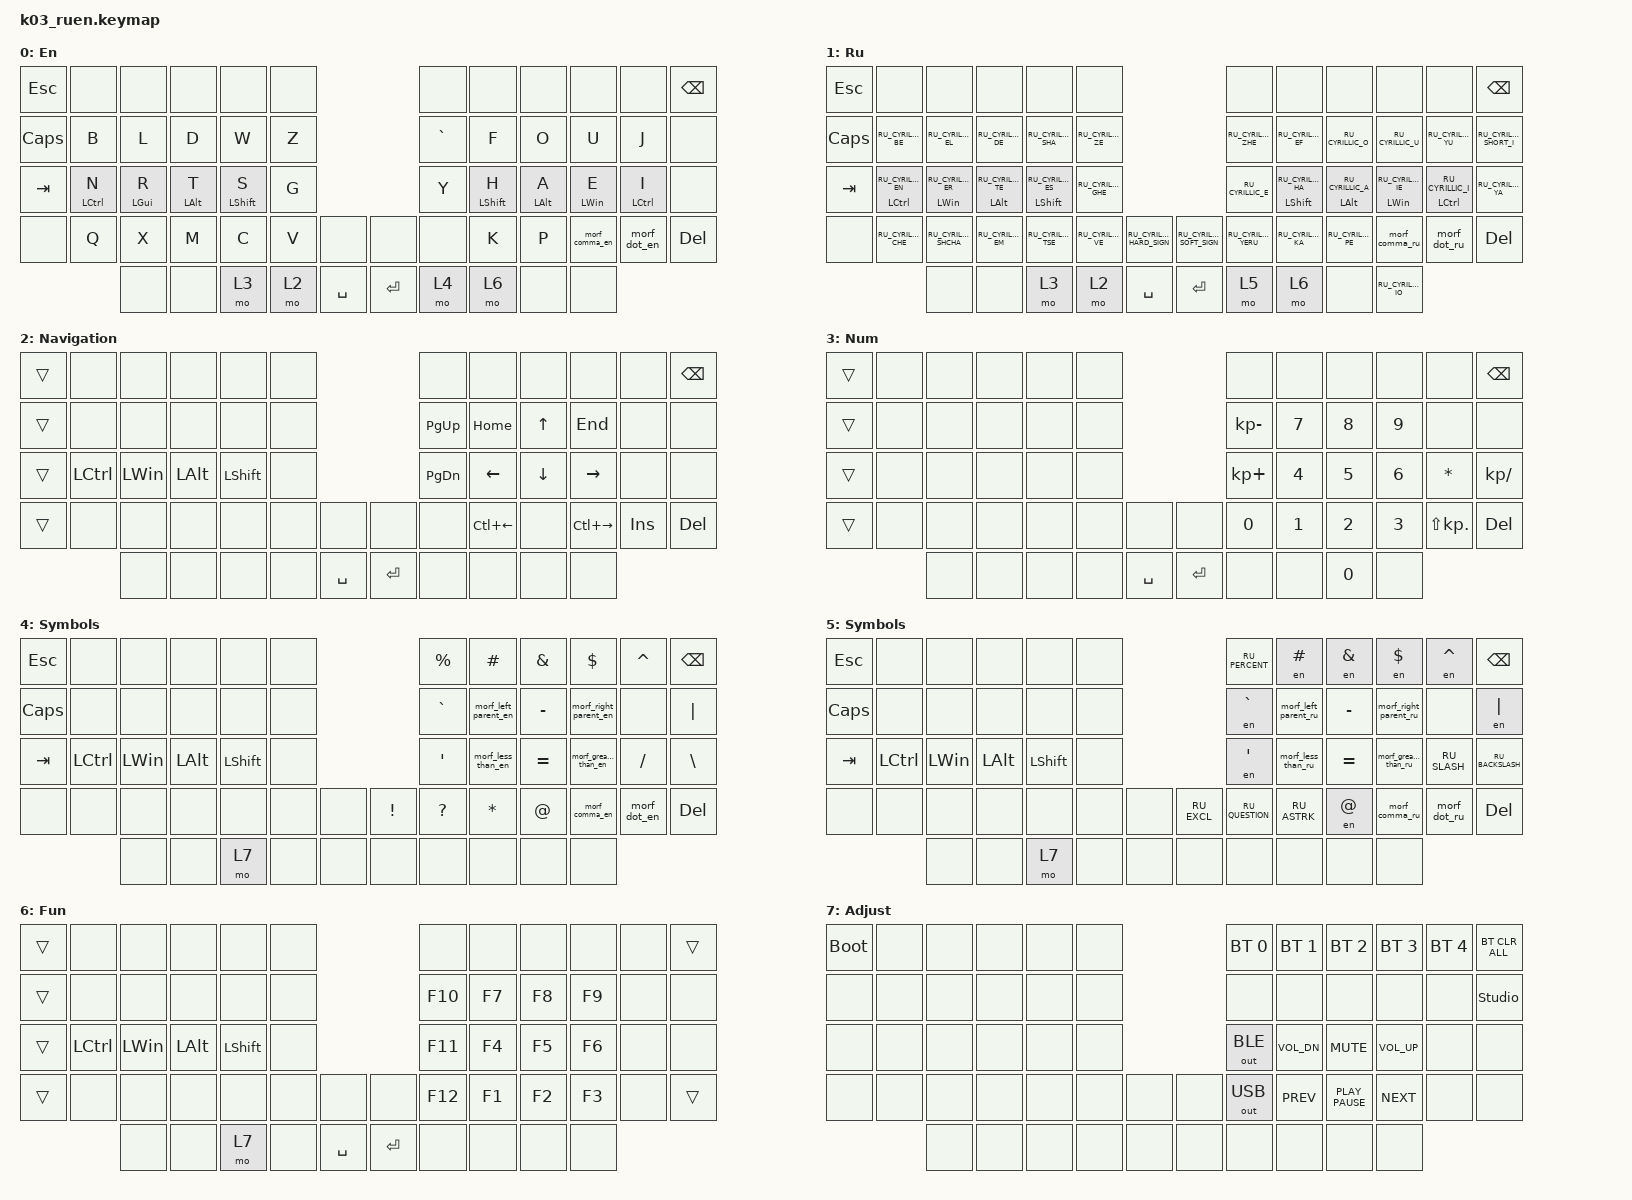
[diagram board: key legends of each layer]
#include "keys_ru.h"
#include <behaviors.dtsi>
#include <dt-bindings/zmk/bt.h>
#include <dt-bindings/zmk/keys.h>
#include <dt-bindings/zmk/outputs.h>

/ {
    behaviors {
        morf_slash_en: morf_slash_en {
            compatible = "zmk,behavior-mod-morph";
            label = "MORF_SLASH_EN";
            bindings = <&kp SLASH>, <&kp BACKSLASH>;

            #binding-cells = <0>;
            mods = <(MOD_LSFT|MOD_RSFT)>;
        };

        morf_dot_en: morf_dot_en {
            compatible = "zmk,behavior-mod-morph";
            label = "MORF_DOT_EN";
            bindings = <&kp DOT>, <&kp COLON>;

            #binding-cells = <0>;
            mods = <(MOD_LSFT|MOD_RSFT)>;
        };

        morf_comma_en: morf_comma_en {
            compatible = "zmk,behavior-mod-morph";
            label = "MORF_COMMA_EN";
            bindings = <&kp COMMA>, <&kp SEMI>;

            #binding-cells = <0>;
            mods = <(MOD_LSFT|MOD_RSFT)>;
        };

        morf_left_parent_en: morf_left_parent_en {
            compatible = "zmk,behavior-mod-morph";
            label = "MORF_LEFT_PARENT_EN";
            bindings = <&kp LEFT_PARENTHESIS>, <&kp LEFT_BRACKET>;

            #binding-cells = <0>;
            mods = <(MOD_LSFT|MOD_RSFT)>;
        };

        morf_right_parent_en: morf_right_parent_en {
            compatible = "zmk,behavior-mod-morph";
            label = "MORF_RIGHT_PARENT_EN";
            bindings = <&kp RIGHT_PARENTHESIS>, <&kp RIGHT_BRACKET>;

            #binding-cells = <0>;
            mods = <(MOD_LSFT|MOD_RSFT)>;
        };

        morf_greather_than_en: morf_greather_than_en {
            compatible = "zmk,behavior-mod-morph";
            label = "MORF_GREATHER_THAN_EN";
            bindings = <&kp GREATER_THAN>, <&kp RIGHT_BRACE>;

            #binding-cells = <0>;
            mods = <(MOD_LSFT|MOD_RSFT)>;
        };

        morf_less_than_en: morf_less_than_en {
            compatible = "zmk,behavior-mod-morph";
            label = "MORF_LESS_THAN_EN";
            bindings = <&kp LESS_THAN>, <&kp LEFT_BRACE>;

            #binding-cells = <0>;
            mods = <(MOD_LSFT|MOD_RSFT)>;
        };

        hrm: hrm {
            compatible = "zmk,behavior-hold-tap";
            label = "HRM";
            bindings = <&kp>, <&kp>;

            #binding-cells = <2>;
            tapping-term-ms = <300>;
            flavor = "balanced";
        };

        morf_dot_ru: morf_dot_ru {
            compatible = "zmk,behavior-mod-morph";
            label = "MORF_DOT_RU";
            bindings = <&kp RU_PERIOD>, <&kp RU_COLON>;

            #binding-cells = <0>;
            mods = <(MOD_LSFT|MOD_RSFT)>;
        };

        morf_comma_ru: morf_comma_ru {
            compatible = "zmk,behavior-mod-morph";
            label = "MORF_COMMA_RU";
            bindings = <&kp RU_COMMA>, <&kp RU_SEMI>;

            #binding-cells = <0>;
            mods = <(MOD_LSFT|MOD_RSFT)>;
        };

        morf_left_parent_ru: morf_left_parent_ru {
            compatible = "zmk,behavior-mod-morph";
            label = "MORF_LEFT_PARENT_RU";
            bindings = <&kp LEFT_PARENTHESIS>, <&en LEFT_BRACKET>;

            #binding-cells = <0>;
            mods = <(MOD_LSFT|MOD_RSFT)>;
        };

        morf_right_parent_ru: morf_right_parent_ru {
            compatible = "zmk,behavior-mod-morph";
            label = "MORF_RIGHT_PARENT_RU";
            bindings = <&kp RIGHT_PARENTHESIS>, <&en RIGHT_BRACKET>;

            #binding-cells = <0>;
            mods = <(MOD_LSFT|MOD_RSFT)>;
        };

        morf_greather_than_ru: morf_greather_than_ru {
            compatible = "zmk,behavior-mod-morph";
            label = "MORF_GREATHER_THAN_RU";
            bindings = <&en GREATER_THAN>, <&en RIGHT_BRACE>;

            #binding-cells = <0>;
            mods = <(MOD_LSFT|MOD_RSFT)>;
        };

        morf_less_than_ru: morf_less_than_ru {
            compatible = "zmk,behavior-mod-morph";
            label = "MORF_LESS_THAN_RU";
            bindings = <&en LESS_THAN>, <&en LEFT_BRACE>;

            #binding-cells = <0>;
            mods = <(MOD_LSFT|MOD_RSFT)>;
        };

        morf_slash_ru: morf_slash_ru {
            compatible = "zmk,behavior-mod-morph";
            label = "MORF_SLASH_RU";
            bindings = <&kp RU_SLASH>, <&kp RU_BACKSLASH>;

            #binding-cells = <0>;
            mods = <(MOD_LSFT|MOD_RSFT)>;
        };

        morf_question_en: morf_question_en {
            compatible = "zmk,behavior-mod-morph";
            label = "MORF_QUESTION_EN";
            bindings = <&kp QUESTION>, <&kp EXCLAMATION>;

            #binding-cells = <0>;
            mods = <(MOD_LSFT|MOD_RSFT)>;
        };

        morf_question_ru: morf_question_ru {
            compatible = "zmk,behavior-mod-morph";
            label = "MORF_QUESTION_RU";
            bindings = <&kp RU_QUESTION>, <&kp EXCLAMATION>;

            #binding-cells = <0>;
            mods = <(MOD_LSFT|MOD_RSFT)>;
        };
    };

    combos {
        compatible = "zmk,combos";

        cmben {
            bindings = <&layer_en>;
            key-positions = <16 15>;
            layers = <1>;
        };

        cmbru {
            bindings = <&layer_ru>;
            key-positions = <15 16>;
            layers = <0>;
        };
    };

    macros {
        to_ru: to_ru {
            compatible = "zmk,behavior-macro";
            #binding-cells = <0>;
            bindings = <&kp LC(N2)>;
            label = "TO_RU";
            wait-ms = <0>;
            tap-ms = <30>;
        };

        to_en: to_en {
            compatible = "zmk,behavior-macro";
            #binding-cells = <0>;
            bindings = <&kp LC(N1)>;
            label = "TO_EN";
            wait-ms = <0>;
            tap-ms = <30>;
        };

        layer_en: layer_en {
            compatible = "zmk,behavior-macro";
            #binding-cells = <0>;
            bindings = <&to 0 &to_en>;
            label = "LAYER_EN";
            wait-ms = <0>;
            tap-ms = <30>;
        };

        layer_ru: layer_ru {
            compatible = "zmk,behavior-macro";
            #binding-cells = <0>;
            bindings = <&to 1 &to_ru>;
            label = "LAYER_RU";
            tap-ms = <30>;
            wait-ms = <0>;
        };

        en: en {
            compatible = "zmk,behavior-macro-one-param";
            #binding-cells = <1>;
            bindings =
                <&to_en>,
                <&macro_press>,
                <&macro_param_1to1 &kp MACRO_PLACEHOLDER>,
                <&macro_pause_for_release>,
                <&macro_release>,
                <&macro_param_1to1 &kp MACRO_PLACEHOLDER>,
                <&macro_tap>,
                <&to_ru>;

            label = "EN";
            wait-ms = <0>;
            tap-ms = <30>;
        };
    };

    keymap {
        compatible = "zmk,keymap";

        en {
            bindings = <
&kp ESC   &none         &none            &none            &none         &none                          &none      &none         &none            &none            &none         &kp BACKSPACE
&kp CAPS  &kp B         &kp L            &kp D            &kp W         &kp Z                          &kp GRAVE  &kp F         &kp O            &kp U            &kp J         &none
&kp TAB   &hrm LCTRL N  &hrm LEFT_GUI R  &hrm LEFT_ALT T  &hrm LSHFT S  &kp G                          &kp Y      &hrm LSHFT H  &hrm LEFT_ALT A  &hrm LEFT_WIN E  &hrm LCTRL I  &none
&none     &kp Q         &kp X            &kp M            &kp C         &kp V  &none        &none      &none      &kp K         &kp P            &morf_comma_en   &morf_dot_en  &kp DELETE
                        &none            &none            &mo 3         &mo 2  &kp SPACE    &kp ENTER  &mo 4      &mo 6         &none            &none
            >;

            display-name = "En";
        };

        ru {
            display-name = "Ru";
            bindings = <
&kp ESC   &none                      &none                     &none                         &none                      &none                                                                        &none                 &none                      &none                        &none                     &none                     &kp BACKSPACE
&kp CAPS  &kp RU_CYRILLIC_BE         &kp RU_CYRILLIC_EL        &kp RU_CYRILLIC_DE            &kp RU_CYRILLIC_SHA        &kp RU_CYRILLIC_ZE                                                           &kp RU_CYRILLIC_ZHE   &kp RU_CYRILLIC_EF         &kp RU_CYRILLIC_O            &kp RU_CYRILLIC_U         &kp RU_CYRILLIC_YU        &kp RU_CYRILLIC_SHORT_I
&kp TAB   &hrm LCTRL RU_CYRILLIC_EN  &hrm LWIN RU_CYRILLIC_ER  &hrm LEFT_ALT RU_CYRILLIC_TE  &hrm LSHFT RU_CYRILLIC_ES  &kp RU_CYRILLIC_GHE                                                          &kp RU_CYRILLIC_E     &hrm LSHFT RU_CYRILLIC_HA  &hrm LEFT_ALT RU_CYRILLIC_A  &hrm LWIN RU_CYRILLIC_IE  &hrm LCTRL RU_CYRILLIC_I  &kp RU_CYRILLIC_YA
&none     &kp RU_CYRILLIC_CHE        &kp RU_CYRILLIC_SHCHA     &kp RU_CYRILLIC_EM            &kp RU_CYRILLIC_TSE        &kp RU_CYRILLIC_VE   &kp RU_CYRILLIC_HARD_SIGN    &kp RU_CYRILLIC_SOFT_SIGN  &kp RU_CYRILLIC_YERU  &kp RU_CYRILLIC_KA         &kp RU_CYRILLIC_PE           &morf_comma_ru            &morf_dot_ru              &kp DELETE
                                     &none                     &none                         &mo 3                      &mo 2                &kp SPACE                    &kp ENTER                  &mo 5                 &mo 6                      &none                        &kp RU_CYRILLIC_IO
            >;
        };

        nav {
            bindings = <
&trans  &none      &none     &none     &none      &none                          &none          &none               &none           &none                &none    &kp BACKSPACE
&trans  &none      &none     &none     &none      &none                          &kp PAGE_UP    &kp HOME            &kp UP_ARROW    &kp END              &none    &none
&trans  &kp LCTRL  &kp LWIN  &kp LALT  &kp LSHFT  &none                          &kp PAGE_DOWN  &kp LEFT_ARROW      &kp DOWN_ARROW  &kp RIGHT            &none    &none
&trans  &none      &none     &none     &none      &none  &none        &none      &none          &kp LC(LEFT_ARROW)  &none           &kp LC(RIGHT_ARROW)  &kp INS  &kp DELETE
                   &none     &none     &none      &none  &kp SPACE    &kp ENTER  &none          &none               &none           &none
            >;

            display-name = "Navigation";
        };

        num {
            display-name = "Num";
            bindings = <
&trans  &none  &none  &none  &none  &none                          &none         &none   &none   &none   &none           &kp BACKSPACE
&trans  &none  &none  &none  &none  &none                          &kp KP_MINUS  &kp N7  &kp N8  &kp N9  &none           &none
&trans  &none  &none  &none  &none  &none                          &kp KP_PLUS   &kp N4  &kp N5  &kp N6  &kp ASTRK       &kp KP_DIVIDE
&trans  &none  &none  &none  &none  &none  &none        &none      &kp N0        &kp N1  &kp N2  &kp N3  &kp LS(KP_DOT)  &kp DELETE
               &none  &none  &none  &none  &kp SPACE    &kp ENTER  &none         &none   &kp N0  &none
            >;
        };

        sym_en {
            bindings = <
&kp ESC   &none      &none     &none     &none      &none                     &kp PERCENT   &kp HASH              &kp AMPERSAND  &kp DOLLAR              &kp CARET     &kp BACKSPACE
&kp CAPS  &none      &none     &none     &none      &none                     &kp GRAVE     &morf_left_parent_en  &kp MINUS      &morf_right_parent_en   &none         &kp PIPE
&kp TAB   &kp LCTRL  &kp LWIN  &kp LALT  &kp LSHFT  &none                     &kp APOS      &morf_less_than_en    &kp EQUAL      &morf_greather_than_en  &kp SLASH     &kp BACKSLASH
&none     &none      &none     &none     &none      &none  &none    &kp EXCL  &kp QUESTION  &kp ASTRK             &kp AT_SIGN    &morf_comma_en          &morf_dot_en  &kp DEL
                     &none     &none     &mo 7      &none  &none    &none     &none         &none                 &none          &none
            >;

            display-name = "Symbols";
        };

        sym_ru {
            display-name = "Symbols";
            bindings = <
&kp ESC   &none      &none     &none     &none      &none                        &kp RU_PERCENT   &en HASH              &en AMPERSAND  &en DOLLAR              &en CARET     &kp BACKSPACE
&kp CAPS  &none      &none     &none     &none      &none                        &en GRAVE        &morf_left_parent_ru  &kp MINUS      &morf_right_parent_ru   &none         &en PIPE
&kp TAB   &kp LCTRL  &kp LWIN  &kp LALT  &kp LSHFT  &none                        &en APOS         &morf_less_than_ru    &kp EQUAL      &morf_greather_than_ru  &kp RU_SLASH  &kp RU_BACKSLASH
&none     &none      &none     &none     &none      &none  &none    &kp RU_EXCL  &kp RU_QUESTION  &kp RU_ASTRK          &en AT_SIGN    &morf_comma_ru          &morf_dot_ru  &kp DEL
                     &none     &none     &mo 7      &none  &none    &none        &none            &none                 &none          &none
            >;
        };

        fun {
            bindings = <
&trans  &none      &none     &none     &none      &none                          &none    &none   &none   &none   &none  &trans
&trans  &none      &none     &none     &none      &none                          &kp F10  &kp F7  &kp F8  &kp F9  &none  &none
&trans  &kp LCTRL  &kp LWIN  &kp LALT  &kp LSHFT  &none                          &kp F11  &kp F4  &kp F5  &kp F6  &none  &none
&trans  &none      &none     &none     &none      &none  &none        &none      &kp F12  &kp F1  &kp F2  &kp F3  &none  &trans
                   &none     &none     &mo 7      &none  &kp SPACE    &kp ENTER  &none    &none   &none   &none
            >;

            label = "Fun";
        };

        adj {
            bindings = <
&bootloader  &none  &none  &none  &none  &none                  &bt BT_SEL 0  &bt BT_SEL 1  &bt BT_SEL 2      &bt BT_SEL 3  &bt BT_SEL 4  &bt BT_CLR_ALL
&none        &none  &none  &none  &none  &none                  &none         &none         &none             &none         &none         &studio_unlock
&none        &none  &none  &none  &none  &none                  &out OUT_BLE  &kp C_VOL_DN  &kp K_MUTE        &kp C_VOL_UP  &none         &none
&none        &none  &none  &none  &none  &none  &none    &none  &out OUT_USB  &kp K_PREV    &kp K_PLAY_PAUSE  &kp K_NEXT    &none         &none
                    &none  &none  &none  &none  &none    &none  &none         &none         &none             &none
            >;

            display-name = "Adjust";
        };
    };
};
